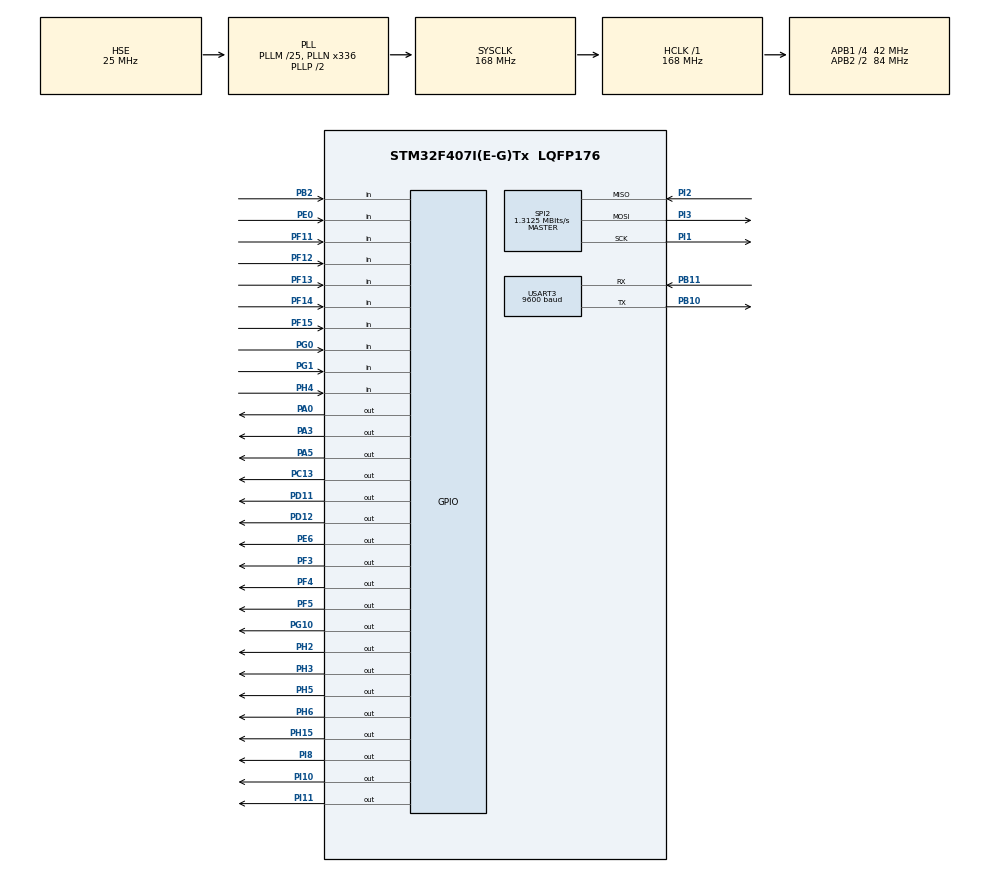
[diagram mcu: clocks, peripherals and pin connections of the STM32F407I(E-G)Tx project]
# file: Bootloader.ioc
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Dma.Request0=USART3_TX
Dma.Request1=USART3_RX
Dma.USART3_RX.1.Direction=DMA_PERIPH_TO_MEMORY
Dma.USART3_RX.1.FIFOMode=DMA_FIFOMODE_DISABLE
Dma.USART3_RX.1.Instance=DMA1_Stream1
Dma.USART3_RX.1.MemDataAlignment=DMA_MDATAALIGN_BYTE
Dma.USART3_RX.1.MemInc=DMA_MINC_ENABLE
Dma.USART3_RX.1.Mode=DMA_NORMAL
Dma.USART3_RX.1.PeriphDataAlignment=DMA_PDATAALIGN_BYTE
Dma.USART3_RX.1.PeriphInc=DMA_PINC_DISABLE
Dma.USART3_RX.1.Priority=DMA_PRIORITY_LOW
Dma.USART3_TX.0.Direction=DMA_MEMORY_TO_PERIPH
Dma.USART3_TX.0.FIFOMode=DMA_FIFOMODE_DISABLE
Dma.USART3_TX.0.Instance=DMA1_Stream3
Dma.USART3_TX.0.MemDataAlignment=DMA_MDATAALIGN_BYTE
Dma.USART3_TX.0.MemInc=DMA_MINC_ENABLE
Dma.USART3_TX.0.Mode=DMA_NORMAL
Dma.USART3_TX.0.PeriphDataAlignment=DMA_PDATAALIGN_BYTE
Dma.USART3_TX.0.PeriphInc=DMA_PINC_DISABLE
Dma.USART3_TX.0.Priority=DMA_PRIORITY_LOW
FREERTOS.INCLUDE_vTaskCleanUpResources=1
FREERTOS.INCLUDE_vTaskDelayUntil=1
FREERTOS.INCLUDE_xQueueGetMutexHolder=1
FREERTOS.INCLUDE_xSemaphoreGetMutexHolder=1
FREERTOS.Tasks01=defaultTask,0,128,StartDefaultTask,Default,NULL,Dynamic,NULL,NULL
FREERTOS.configTIMER_TASK_PRIORITY=5
FREERTOS.configTOTAL_HEAP_SIZE=30000
FREERTOS.configUSE_COUNTING_SEMAPHORES=1
FREERTOS.configUSE_NEWLIB_REENTRANT=1
FREERTOS.configUSE_TIMERS=1
IWDG.Prescaler=IWDG_PRESCALER_32
IWDG.Reload=4000
Mcu.Family=STM32F4
Mcu.Name=STM32F407I(E-G)Tx
Mcu.Package=LQFP176
NVIC.DMA1_Stream1_IRQn=true\:5\:0\:false\:false\:true\:true\:false\:true\:true
NVIC.DMA1_Stream3_IRQn=true\:5\:0\:false\:false\:true\:true\:false\:true\:true
NVIC.PriorityGroup=NVIC_PRIORITYGROUP_4
NVIC.TIM1_UP_TIM10_IRQn=true\:15\:0\:false\:false\:true\:false\:false\:true\:true
NVIC.TimeBase=TIM1_UP_TIM10_IRQn
NVIC.TimeBaseIP=TIM1
NVIC.USART3_IRQn=true\:5\:0\:false\:false\:true\:true\:true\:true\:true
PA0-WKUP.PinState=GPIO_PIN_SET
PA0-WKUP.Signal=GPIO_Output
PA13.Mode=Serial_Wire
PA13.Signal=SYS_JTMS-SWDIO
PA14.Mode=Serial_Wire
PA14.Signal=SYS_JTCK-SWCLK
PA3.Signal=GPIO_Output
PA5.Signal=GPIO_Output
PB10.Mode=Asynchronous
PB10.Signal=USART3_TX
PB11.Mode=Asynchronous
PB11.Signal=USART3_RX
PB2.Signal=GPIO_Input
PB6.Signal=USART1_TX
PB7.Signal=USART1_RX
PC13-ANTI_TAMP.Signal=GPIO_Output
PC14-OSC32_IN.Mode=LSE-External-Oscillator
PC14-OSC32_IN.Signal=RCC_OSC32_IN
PC15-OSC32_OUT.Mode=LSE-External-Oscillator
PC15-OSC32_OUT.Signal=RCC_OSC32_OUT
PD11.GPIO_PuPd=GPIO_PULLDOWN
PD11.Signal=GPIO_Output
PD12.GPIO_PuPd=GPIO_PULLDOWN
PD12.Signal=GPIO_Output
PE0.GPIO_PuPd=GPIO_PULLUP
PE0.Signal=GPIO_Input
PE6.Signal=GPIO_Output
PF11.Signal=GPIO_Input
PF12.Signal=GPIO_Input
PF13.Signal=GPIO_Input
PF14.Signal=GPIO_Input
PF15.Signal=GPIO_Input
PF3.PinState=GPIO_PIN_SET
PF3.Signal=GPIO_Output
PF4.PinState=GPIO_PIN_SET
PF4.Signal=GPIO_Output
PF5.PinState=GPIO_PIN_SET
PF5.Signal=GPIO_Output
PG0.Signal=GPIO_Input
PG1.Signal=GPIO_Input
PG10.GPIO_PuPd=GPIO_PULLDOWN
PG10.Signal=GPIO_Output
PG14.Signal=USART6_TX
PG9.Signal=USART6_RX
PH0-OSC_IN.Mode=HSE-External-Oscillator
PH0-OSC_IN.Signal=RCC_OSC_IN
PH1-OSC_OUT.Mode=HSE-External-Oscillator
PH1-OSC_OUT.Signal=RCC_OSC_OUT
PH15.PinState=GPIO_PIN_SET
PH15.Signal=GPIO_Output
PH2.PinState=GPIO_PIN_SET
PH2.Signal=GPIO_Output
PH3.PinState=GPIO_PIN_SET
PH3.Signal=GPIO_Output
PH4.Signal=GPIO_Input
PH5.Signal=GPIO_Output
PH6.Signal=GPIO_Output
PI1.Mode=Full_Duplex_Master
PI1.Signal=SPI2_SCK
PI10.PinState=GPIO_PIN_SET
PI10.Signal=GPIO_Output
PI11.PinState=GPIO_PIN_SET
PI11.Signal=GPIO_Output
PI2.Mode=Full_Duplex_Master
PI2.Signal=SPI2_MISO
PI3.Mode=Full_Duplex_Master
PI3.Signal=SPI2_MOSI
PI8-\ ANTI\ TAMP2.Signal=GPIO_Output
ProjectManager.HeapSize=0x200
ProjectManager.StackSize=0x400
ProjectManager.TargetToolchain=STM32CubeIDE
RCC.48MHZClocksFreq_Value=84000000
RCC.AHBFreq_Value=168000000
RCC.APB1CLKDivider=RCC_HCLK_DIV4
RCC.APB1Freq_Value=42000000
RCC.APB1TimFreq_Value=84000000
RCC.APB2CLKDivider=RCC_HCLK_DIV2
RCC.APB2Freq_Value=84000000
RCC.APB2TimFreq_Value=168000000
RCC.CortexFreq_Value=168000000
RCC.HCLKFreq_Value=168000000
RCC.HSE_VALUE=25000000
RCC.HSI_VALUE=16000000
RCC.PLLM=25
RCC.PLLN=336
RCC.PLLSourceVirtual=RCC_PLLSOURCE_HSE
RCC.RCC_RTC_Clock_Source=RCC_RTCCLKSOURCE_LSE
RCC.RCC_RTC_Clock_SourceVirtual=RCC_RTCCLKSOURCE_LSE
RCC.SYSCLKFreq_VALUE=168000000
RCC.SYSCLKSource=RCC_SYSCLKSOURCE_PLLCLK
RCC.VCOOutputFreq_Value=336000000
SPI2.BaudRatePrescaler=SPI_BAUDRATEPRESCALER_32
SPI2.CalculateBaudRate=1.3125 MBits/s
SPI2.Direction=SPI_DIRECTION_2LINES
SPI2.Mode=SPI_MODE_MASTER
SPI2.VirtualType=VM_MASTER
USART3.BaudRate=9600
USART3.VirtualMode=VM_ASYNC
VP_FREERTOS_VS_CMSIS_V1.Mode=CMSIS_V1
VP_IWDG_VS_IWDG.Mode=IWDG_Activate
VP_RTC_VS_RTC_Activate.Mode=RTC_Enabled
VP_RTC_VS_RTC_Calendar.Mode=RTC_Calendar
VP_SYS_VS_tim1.Mode=TIM1
board=custom

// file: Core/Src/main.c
/* USER CODE BEGIN Header */
/**
  ******************************************************************************
  * @file           : main.c
  * @brief          : Main program body
  ******************************************************************************
  * @attention
  *
  * Copyright (c) 2023 STMicroelectronics.
  * All rights reserved.
  *
  * This software is licensed under terms that can be found in the LICENSE file
  * in the root directory of this software component.
  * If no LICENSE file comes with this software, it is provided AS-IS.
  *
  ******************************************************************************
  */
/* USER CODE END Header */
#include "main.h"
#include "cmsis_os.h"

/* USER CODE BEGIN Includes */

#include "gpio.h"
#include "m95.h"
#include "fm25v02.h"
#include "modbus.h"

/* USER CODE END Includes */

 IWDG_HandleTypeDef hiwdg;

RTC_HandleTypeDef hrtc;

SPI_HandleTypeDef hspi2;

UART_HandleTypeDef huart3;
DMA_HandleTypeDef hdma_usart3_tx;
DMA_HandleTypeDef hdma_usart3_rx;

osThreadId defaultTaskHandle;
/* USER CODE BEGIN PV */

osMessageQId ModbusQueueHandle;
osTimerId AT_TimerHandle;
osTimerId Ring_Center_TimerHandle;
osMutexId UartMutexHandle;
osSemaphoreId TransmissionStateHandle;

osThreadId M95TaskHandle;
osThreadId ModbusTaskHandle;
osThreadId MainTaskHandle;
osThreadId ModbusPacketTaskHandle;
osThreadId ReadRegistersTaskHandle;

osMutexId Fm25v02MutexHandle;

osSemaphoreId ModbusPacketReceiveHandle;

uint8_t modem_rx_data[256];
char modem_rx_buffer[256];
uint8_t modbus_buffer[20][256];
uint8_t modem_rx_number = 0;
//uint8_t modbus_buffer_number = 0;

volatile uint8_t read_rx_state;

extern bootloader_register_struct bootloader_registers;

typedef void (*pFunction) (void);
pFunction Jump_To_Application;
uint32_t JumpAddress;
uint32_t ApplicationAddress2 = 0x08010000;

uint32_t calculating_firmware_crc;
uint32_t start_address;
uint32_t end_address;
uint32_t firmware_length;
uint16_t firmware_crc;

uint32_t start_default_task_delay = 200;

uint8_t test_data1;

uint8_t temp_id_high;
uint8_t temp_id_low;

uint8_t temp_ip1;
uint8_t temp_ip2;
uint8_t temp_ip3;
uint8_t temp_ip4;

uint8_t temp_port_high;
uint8_t temp_port_low;

extern control_register_struct control_registers;

volatile uint8_t modem_reset_state = 0;

/* USER CODE END PV */

void SystemClock_Config(void);
static void MX_GPIO_Init(void);
static void MX_DMA_Init(void);
static void MX_IWDG_Init(void);
static void MX_SPI2_Init(void);
static void MX_USART3_UART_Init(void);
static void MX_RTC_Init(void);
void StartDefaultTask(void const * argument);

/* USER CODE BEGIN PFP */

void Callback_AT_Timer(void const * argument);
void Callback_Ring_Center_Timer(void const * argument);

void ThreadM95Task(void const * argument);
void ThreadModbusTask(void const * argument);
void ThreadMainTask(void const * argument);
void ThreadModbusPacketTask(void const * argument);
void ThreadReadRegistersTask(void const * argument);

/* USER CODE END PFP */

/* USER CODE BEGIN 0 */

void HAL_UART_TxCpltCallback(UART_HandleTypeDef *huart)
{
	  if (huart->Instance == USART3)
	  {
		  osSemaphoreRelease(TransmissionStateHandle);
	  }
}

void HAL_UART_RxCpltCallback(UART_HandleTypeDef *huart)
{
	  if (huart->Instance == USART3)
	  {
		  modem_rx_buffer[modem_rx_number++] = modem_rx_data[0];
		  osMessagePut(ModbusQueueHandle, (uint32_t)modem_rx_data[0], 2000);
		  HAL_UART_Receive_DMA(&huart3, &modem_rx_data[0], 1);
	  }
}

//void HAL_MspInit(void)
//{

//}

/* USER CODE END 0 */

int main(void)
{
  /* USER CODE BEGIN 1 */

  	uint8_t temp_h;
  	uint8_t temp_l;
  	uint16_t temp_jump_attempt;

  /* USER CODE END 1 */

  /* MCU Configuration--------------------------------------------------------*/

  /* Reset of all peripherals, Initializes the Flash interface and the Systick. */
  HAL_Init();

  /* Configure the system clock */
  SystemClock_Config();

  /* Initialize all configured peripherals */
  MX_GPIO_Init();
  MX_DMA_Init();
  MX_IWDG_Init();
  MX_SPI2_Init();
  MX_USART3_UART_Init();
  MX_RTC_Init();
  /* USER CODE BEGIN 2 */

  BUZ_ON(); // пикаем бузером
  HAL_Delay(50);
  BUZ_OFF();

  LED_VD3_ON();

  if( ((RCC->BDCR)&0x02) != 0 ) // Проверяем, запустился ли часовой кварц, если запустился включаем светодиод
  {
	  //LED_VD4_ON();
  }
  else
  {
	  //LED_VD4_OFF();
  }

	//fm25v02_write(2*START_ADDRESS_FIRMWARE_2_REG, 0x00);
	//fm25v02_write(2*START_ADDRESS_FIRMWARE_2_REG+1, 0x08);
	//bootloader_registers.start_address_firmware_2_reg = 0x0008;

	//fm25v02_write(2*START_ADDRESS_FIRMWARE_3_REG, 0x00);
	//fm25v02_write(2*START_ADDRESS_FIRMWARE_3_REG+1, 0x01);
	//bootloader_registers.start_address_firmware_3_reg = 0x0001;

	//fm25v02_write(2*START_ADDRESS_FIRMWARE_HIGH_REG, 0x00);
	//fm25v02_write(2*START_ADDRESS_FIRMWARE_HIGH_REG+1, 0x00);
	//bootloader_registers.start_address_firmware_high_reg = 0x0000;

	//fm25v02_write(2*START_ADDRESS_FIRMWARE_LOW_REG, 0x00);
	//fm25v02_write(2*START_ADDRESS_FIRMWARE_LOW_REG+1, 0x00);
	//bootloader_registers.start_address_firmware_low_reg = 0x0000;

	//fm25v02_write(2*END_ADDRESS_FIRMWARE_2_REG, 0x00);
	//fm25v02_write(2*END_ADDRESS_FIRMWARE_2_REG+1, 0x08);
	//bootloader_registers.end_address_firmware_2_reg = 0x0008;

	//fm25v02_write(2*END_ADDRESS_FIRMWARE_3_REG, 0x00);
	//fm25v02_write(2*END_ADDRESS_FIRMWARE_3_REG+1, 0x01);
	//bootloader_registers.end_address_firmware_3_reg = 0x0001;

	//fm25v02_write(2*END_ADDRESS_FIRMWARE_HIGH_REG, 0x00);
	//fm25v02_write(2*END_ADDRESS_FIRMWARE_HIGH_REG+1, 0xDD);
	//bootloader_registers.end_address_firmware_high_reg = 0x00DD;

	//fm25v02_write(2*END_ADDRESS_FIRMWARE_LOW_REG, 0x00);
	//fm25v02_write(2*END_ADDRESS_FIRMWARE_LOW_REG+1, 0x33);
	//bootloader_registers.end_address_firmware_low_reg = 0x0033;

	//fm25v02_write(2*CRC_FIRMWARE_HIGH_REG, 0x00);
	//fm25v02_write(2*CRC_FIRMWARE_HIGH_REG+1, 0x07);
	//bootloader_registers.crc_firmware_high_reg = 0x0007;

	//fm25v02_write(2*CRC_FIRMWARE_LOW_REG, 0x00);
	//fm25v02_write(2*CRC_FIRMWARE_LOW_REG+1, 0xB4);
	//bootloader_registers.crc_firmware_low_reg = 0x00B4;

/*
	fm25v02_write(2*IP_1_REG, 0x00);
	fm25v02_write(2*IP_1_REG+1, 0x00);
	fm25v02_write(2*IP_2_REG, 0x00);
	fm25v02_write(2*IP_2_REG+1, 0x00);
	fm25v02_write(2*IP_3_REG, 0x00);
	fm25v02_write(2*IP_3_REG+1, 0x00);
	fm25v02_write(2*IP_4_REG, 0x00);
	fm25v02_write(2*IP_4_REG+1, 0x00);
	fm25v02_write(2*PORT_HIGH_REG, 0x00);
	fm25v02_write(2*PORT_HIGH_REG+1, 0x00);
	fm25v02_write(2*PORT_LOW_REG, 0x00);
	fm25v02_write(2*PORT_LOW_REG+1, 0x00);

	fm25v02_write(2*ID_HIGH_REG, 0x00);
	fm25v02_write(2*ID_HIGH_REG+1, 0x00);

	fm25v02_write(2*ID_LOW_REG, 0x00);
	fm25v02_write(2*ID_LOW_REG+1, 0x00);
*/

	//fm25v02_write(2*WRITE_ARRAY_REG, 0x00); // обнулим регистр записи массива
	//fm25v02_write(2*WRITE_ARRAY_REG+1, 0x00);
	//bootloader_registers.write_array_reg = 0x0000;

	//fm25v02_read(271, &test_data1);

	//fm25v02_write(271, 0x00);

	/*
	fm25v02_read(256, &test_data1); // вычитываем из FRAM памяти регистр старой версии загрузчика

	if( test_data1 !=0 ) // если этот регистр не равен 0, то вычитываем старые параметры ID устройства, IP, номер порта и переписываем их в регистры новой прошивки, затем выставляем значение регистра в 0
	{
		fm25v02_read(4267, &temp_id_high);
		fm25v02_read(4268, &temp_id_low);

		fm25v02_read(4271, &temp_ip1);
		fm25v02_read(4272, &temp_ip2);
		fm25v02_read(4273, &temp_ip3);
		fm25v02_read(4274, &temp_ip4);

		fm25v02_read(4275, &temp_port_high);
		fm25v02_read(4276, &temp_port_low);

		fm25v02_write(2*ID_HIGH_REG, 0);
		fm25v02_write(2*ID_HIGH_REG+1, temp_id_high);
		control_registers.id_high_reg = temp_id_high;

		fm25v02_write(2*ID_LOW_REG, 0);
		fm25v02_write(2*ID_LOW_REG+1, temp_id_low);
		control_registers.id_low_reg = temp_id_low;

		fm25v02_write(2*IP_1_REG, 0);
		fm25v02_write(2*IP_1_REG+1, temp_ip1);
		control_registers.ip1_reg = temp_ip1;

		fm25v02_write(2*IP_2_REG, 0);
		fm25v02_write(2*IP_2_REG+1, temp_ip2);
		control_registers.ip2_reg = temp_ip2;

		fm25v02_write(2*IP_3_REG, 0);
		fm25v02_write(2*IP_3_REG+1, temp_ip3);
		control_registers.ip3_reg = temp_ip3;

		fm25v02_write(2*IP_4_REG, 0);
		fm25v02_write(2*IP_4_REG+1, temp_ip4);
		control_registers.ip4_reg = temp_ip4;

		fm25v02_write(2*PORT_HIGH_REG, 0);
		fm25v02_write(2*PORT_HIGH_REG+1, temp_port_high);
		control_registers.port_high_reg = temp_port_high;

		fm25v02_write(2*PORT_LOW_REG, 0);
		fm25v02_write(2*PORT_LOW_REG+1, temp_port_low);
		control_registers.port_low_reg = temp_port_low;

		fm25v02_write(256, 0); // выставляем значение регистра в 0
	}
	*/

  	read_bootloader_registers_no_rtos(); // читаем ригистры бутлоадера до запуска операционной системы

	start_address = ((((uint32_t)(bootloader_registers.start_address_firmware_high_reg))<<24)&0xFF000000) | ((((uint32_t)(bootloader_registers.start_address_firmware_2_reg))<<16)&0x00FF0000) | ((((uint32_t)(bootloader_registers.start_address_firmware_3_reg))<<8)&0x0000FF00) | (((uint32_t)(bootloader_registers.start_address_firmware_low_reg))&0x000000FF);

	end_address = ((((uint32_t)(bootloader_registers.end_address_firmware_2_reg))<<24)&0xFF000000) | ((((uint32_t)(bootloader_registers.end_address_firmware_3_reg))<<16)&0x00FF0000) | ((((uint32_t)(bootloader_registers.end_address_firmware_high_reg))<<8)&0x0000FF00) | (((uint32_t)(bootloader_registers.end_address_firmware_low_reg))&0x000000FF);

	//end_address = 0x08029EEB;

	firmware_length = end_address - start_address + 1;

	firmware_crc = (((bootloader_registers.crc_firmware_low_reg)<<8)&0xFF00) | ((bootloader_registers.crc_firmware_high_reg)&0x00FF);

	if( (start_address >= 0x08000000) && (start_address <= 0x080FFFFF) && ((start_address + firmware_length) <= 0x080FFFFF) && (firmware_length <= 0xFFFFF) ) // стартовый адресс для расчета контрольной суммы должен входить в диапазон основной памяти контроллера, длина прошивки не должна превышать длину памяти программ контроллера иначе при чтении будет хардфолт
	{
		calculating_firmware_crc = CRC16((unsigned char*)start_address, firmware_length);
	}
	else
	{
		calculating_firmware_crc = 0;
	}

	if( (firmware_crc == calculating_firmware_crc) && (firmware_crc != 0) ) // если рассчетная контрольная сумма прошивки совпадает с указанной и не равна 0
	{

		fm25v02_write(2*FIRMWARE_CORRECTNESS_REG, 0x00); // записываем в регистры и переменную корректность прошивки
		fm25v02_write(2*FIRMWARE_CORRECTNESS_REG+1, 0x01);
		bootloader_registers.firmware_correctness_reg = 0x0001;

	}

	else // если рассчетная контрольная сумма прошивки не совпадает с указанной
	{

		fm25v02_write(2*FIRMWARE_CORRECTNESS_REG, 0x00); // записываем в регистры и переменную ошибку контрольной суммы прошивки
		fm25v02_write(2*FIRMWARE_CORRECTNESS_REG+1, 0x00);
		bootloader_registers.firmware_correctness_reg = 0x0000;

	}

	//----тест, потом удалить
	//fm25v02_write(2*FIRMWARE_CORRECTNESS_REG, 0x00); // записываем в регистры и переменную корректность прошивки
	//fm25v02_write(2*FIRMWARE_CORRECTNESS_REG+1, 0x01);
	//bootloader_registers.firmware_correctness_reg = 0x0001;
	//-----------------------

  	if( bootloader_registers.working_mode_reg == 0 ) // если включен нормальный режим работы
  	{
  		if(bootloader_registers.jump_attempt_reg < bootloader_registers.max_jump_attempt_reg)
  		{
  			if( bootloader_registers.firmware_correctness_reg == 1 ) // если прошивка корректна (контрольная сумма совпадает)
  			{

  				fm25v02_write(2*FIRMWARE_CORRECTNESS_REG, 0x00); // обнуляем корректность прошивки
  				fm25v02_write(2*FIRMWARE_CORRECTNESS_REG+1, 0x00);
  				bootloader_registers.firmware_correctness_reg = 0x0000;

  				fm25v02_write(2*WORKING_MODE_REG, 0x00); // обнуляем корректность прошивки
  				fm25v02_write(2*WORKING_MODE_REG+1, 0x00);
  				bootloader_registers.working_mode_reg = 0x0000;

  				fm25v02_read(271, &test_data1); // обнуляем регистр режима работы с номером 271 в fram памяти, нужно только для старой прошивки

  				HAL_UART_DeInit(&huart3);
  				HAL_SPI_DeInit(&hspi2);
  				HAL_DMA_DeInit(&hdma_usart3_rx);
  				HAL_DMA_DeInit(&hdma_usart3_tx);

  				HAL_RCC_DeInit();

  				HAL_DeInit(); // деинициализируем HAL

  				JumpAddress = *(__IO uint32_t*) (ApplicationAddress2+4); // адрес перехода
  				Jump_To_Application = (pFunction) JumpAddress; // приводим адрес к типу функции
  				__set_MSP (*(__IO uint32_t*) ApplicationAddress2);// устанавливаем указатель стека

  				SCB->VTOR = FLASH_BASE | 0x10000; // смещаем таблицу векторов прерываний

  				Jump_To_Application(); // переход к основной программе

  			}
  			else if( bootloader_registers.firmware_correctness_reg == 0 )
  			{
  				fm25v02_read(2*JUMP_ATTEMPT_REG, &temp_h); // увеличиваем количество попыток перейти в основную программу
  				fm25v02_read(2*JUMP_ATTEMPT_REG+1, &temp_l);
  				temp_jump_attempt = (((uint16_t)temp_h)<<8)|((uint16_t)(temp_l));
  				temp_jump_attempt = temp_jump_attempt + 1;
  				temp_h = (uint8_t)(temp_jump_attempt>>8);
  				temp_l = (uint8_t)(temp_jump_attempt);
  				fm25v02_write(2*JUMP_ATTEMPT_REG, temp_h);
  				fm25v02_write(2*JUMP_ATTEMPT_REG+1, temp_l);

  				HAL_Delay(100);

  				osMutexWait(Fm25v02MutexHandle, osWaitForever); // ждем освобождение мьютекса записи в память
  				NVIC_SystemReset();

  			}
  		}

  		else
  		{
  			start_default_task_delay = 100;
  		}
  	}

  /* USER CODE END 2 */

  /* USER CODE BEGIN RTOS_MUTEX */
  /* add mutexes, ... */

  osMutexDef(UartMutex);
  UartMutexHandle = osMutexCreate(osMutex(UartMutex));

  osMutexDef(Fm25v02Mutex);
  Fm25v02MutexHandle = osMutexCreate(osMutex(Fm25v02Mutex));

  /* USER CODE END RTOS_MUTEX */

  /* USER CODE BEGIN RTOS_SEMAPHORES */
  /* add semaphores, ... */

  osSemaphoreDef(TransmissionState);
  TransmissionStateHandle = osSemaphoreCreate(osSemaphore(TransmissionState), 1);

  osSemaphoreDef(ModbusPacketReceive);
  ModbusPacketReceiveHandle = osSemaphoreCreate(osSemaphore(ModbusPacketReceive), 1);

  /* USER CODE END RTOS_SEMAPHORES */

  /* USER CODE BEGIN RTOS_TIMERS */
  /* start timers, add new ones, ... */

  osTimerDef(AT_Timer, Callback_AT_Timer);
  AT_TimerHandle = osTimerCreate(osTimer(AT_Timer), osTimerOnce, NULL);

  osTimerDef(Ring_Center_Timer, Callback_Ring_Center_Timer);
  Ring_Center_TimerHandle = osTimerCreate(osTimer(Ring_Center_Timer), osTimerOnce, NULL);

  /* USER CODE END RTOS_TIMERS */

  /* USER CODE BEGIN RTOS_QUEUES */
  /* add queues, ... */

  osMessageQDef(ModbusQueue, 256, uint8_t);
  ModbusQueueHandle = osMessageCreate(osMessageQ(ModbusQueue), NULL);

  //osMessageQDef(MeterQueue, 256, uint8_t);
  //MeterQueueHandle = osMessageCreate(osMessageQ(MeterQueue), NULL);

  /* USER CODE END RTOS_QUEUES */

  /* Create the thread(s) */
  /* definition and creation of defaultTask */
  osThreadDef(defaultTask, StartDefaultTask, osPriorityNormal, 0, 128);
  defaultTaskHandle = osThreadCreate(osThread(defaultTask), NULL);

  /* USER CODE BEGIN RTOS_THREADS */
  /* add threads, ... */

  osThreadDef(M95Task, ThreadM95Task, osPriorityNormal, 0, 128);
  M95TaskHandle = osThreadCreate(osThread(M95Task), NULL);

  osThreadDef(ModbusTask, ThreadModbusTask, osPriorityNormal, 0, 128);
  ModbusTaskHandle = osThreadCreate(osThread(ModbusTask), NULL);

  osThreadDef(MainTask, ThreadMainTask, osPriorityNormal, 0, 128);
  MainTaskHandle = osThreadCreate(osThread(MainTask), NULL);

  osThreadDef(ModbusPacketTask, ThreadModbusPacketTask, osPriorityNormal, 0, 128);
  ModbusPacketTaskHandle = osThreadCreate(osThread(ModbusPacketTask), NULL);

  osThreadDef(ReadRegistersTask, ThreadReadRegistersTask, osPriorityNormal, 0, 128);
  ReadRegistersTaskHandle = osThreadCreate(osThread(ReadRegistersTask), NULL);

  /* USER CODE END RTOS_THREADS */

  /* Start scheduler */
  osKernelStart();

  /* We should never get here as control is now taken by the scheduler */
  /* Infinite loop */
  while (1)
  {

  }
}

void SystemClock_Config(void)
{
  RCC_OscInitTypeDef RCC_OscInitStruct = {0};
  RCC_ClkInitTypeDef RCC_ClkInitStruct = {0};

  /** Configure the main internal regulator output voltage
  */
  __HAL_RCC_PWR_CLK_ENABLE();
  __HAL_PWR_VOLTAGESCALING_CONFIG(PWR_REGULATOR_VOLTAGE_SCALE1);

  /** Initializes the RCC Oscillators according to the specified parameters
  * in the RCC_OscInitTypeDef structure.
  */
  RCC_OscInitStruct.OscillatorType = RCC_OSCILLATORTYPE_LSI|RCC_OSCILLATORTYPE_HSE
                              |RCC_OSCILLATORTYPE_LSE;
  RCC_OscInitStruct.HSEState = RCC_HSE_ON;
  RCC_OscInitStruct.LSEState = RCC_LSE_ON;
  RCC_OscInitStruct.LSIState = RCC_LSI_ON;
  RCC_OscInitStruct.PLL.PLLState = RCC_PLL_ON;
  RCC_OscInitStruct.PLL.PLLSource = RCC_PLLSOURCE_HSE;
  RCC_OscInitStruct.PLL.PLLM = 25;
  RCC_OscInitStruct.PLL.PLLN = 336;
  RCC_OscInitStruct.PLL.PLLP = RCC_PLLP_DIV2;
  RCC_OscInitStruct.PLL.PLLQ = 4;
  if (HAL_RCC_OscConfig(&RCC_OscInitStruct) != HAL_OK)
  {
    Error_Handler();
  }

  /** Initializes the CPU, AHB and APB buses clocks
  */
  RCC_ClkInitStruct.ClockType = RCC_CLOCKTYPE_HCLK|RCC_CLOCKTYPE_SYSCLK
                              |RCC_CLOCKTYPE_PCLK1|RCC_CLOCKTYPE_PCLK2;
  RCC_ClkInitStruct.SYSCLKSource = RCC_SYSCLKSOURCE_PLLCLK;
  RCC_ClkInitStruct.AHBCLKDivider = RCC_SYSCLK_DIV1;
  RCC_ClkInitStruct.APB1CLKDivider = RCC_HCLK_DIV4;
  RCC_ClkInitStruct.APB2CLKDivider = RCC_HCLK_DIV2;

  if (HAL_RCC_ClockConfig(&RCC_ClkInitStruct, FLASH_LATENCY_5) != HAL_OK)
  {
    Error_Handler();
  }
}

static void MX_IWDG_Init(void)
{

  hiwdg.Instance = IWDG;
  hiwdg.Init.Prescaler = IWDG_PRESCALER_32;
  hiwdg.Init.Reload = 4000;
  if (HAL_IWDG_Init(&hiwdg) != HAL_OK)
  {
    Error_Handler();
  }

}

static void MX_RTC_Init(void)
{

  RTC_TimeTypeDef sTime = {0};
  RTC_DateTypeDef sDate = {0};

  /** Initialize RTC Only
  */
  hrtc.Instance = RTC;
  hrtc.Init.HourFormat = RTC_HOURFORMAT_24;
  hrtc.Init.AsynchPrediv = 127;
  hrtc.Init.SynchPrediv = 255;
  hrtc.Init.OutPut = RTC_OUTPUT_DISABLE;
  hrtc.Init.OutPutPolarity = RTC_OUTPUT_POLARITY_HIGH;
  hrtc.Init.OutPutType = RTC_OUTPUT_TYPE_OPENDRAIN;
  if (HAL_RTC_Init(&hrtc) != HAL_OK)
  {
    Error_Handler();
  }

  /** Initialize RTC and set the Time and Date
  */
  sTime.Hours = 0x0;
  sTime.Minutes = 0x0;
  sTime.Seconds = 0x0;
  sTime.DayLightSaving = RTC_DAYLIGHTSAVING_NONE;
  sTime.StoreOperation = RTC_STOREOPERATION_RESET;
  //if (HAL_RTC_SetTime(&hrtc, &sTime, RTC_FORMAT_BCD) != HAL_OK)
  //{
    //Error_Handler();
  //}
  sDate.WeekDay = RTC_WEEKDAY_MONDAY;
  sDate.Month = RTC_MONTH_JANUARY;
  sDate.Date = 0x1;
  sDate.Year = 0x0;

  //if (HAL_RTC_SetDate(&hrtc, &sDate, RTC_FORMAT_BCD) != HAL_OK)
  //{
    //Error_Handler();
  //}

}

static void MX_SPI2_Init(void)
{

  /* SPI2 parameter configuration*/
  hspi2.Instance = SPI2;
  hspi2.Init.Mode = SPI_MODE_MASTER;
  hspi2.Init.Direction = SPI_DIRECTION_2LINES;
  hspi2.Init.DataSize = SPI_DATASIZE_8BIT;
  hspi2.Init.CLKPolarity = SPI_POLARITY_LOW;
  hspi2.Init.CLKPhase = SPI_PHASE_1EDGE;
  hspi2.Init.NSS = SPI_NSS_SOFT;
  hspi2.Init.BaudRatePrescaler = SPI_BAUDRATEPRESCALER_32;
  hspi2.Init.FirstBit = SPI_FIRSTBIT_MSB;
  hspi2.Init.TIMode = SPI_TIMODE_DISABLE;
  hspi2.Init.CRCCalculation = SPI_CRCCALCULATION_DISABLE;
  hspi2.Init.CRCPolynomial = 10;
  if (HAL_SPI_Init(&hspi2) != HAL_OK)
  {
    Error_Handler();
  }

}

static void MX_USART3_UART_Init(void)
{

  huart3.Instance = USART3;
  huart3.Init.BaudRate = 9600;
  huart3.Init.WordLength = UART_WORDLENGTH_8B;
  huart3.Init.StopBits = UART_STOPBITS_1;
  huart3.Init.Parity = UART_PARITY_NONE;
  huart3.Init.Mode = UART_MODE_TX_RX;
  huart3.Init.HwFlowCtl = UART_HWCONTROL_NONE;
  huart3.Init.OverSampling = UART_OVERSAMPLING_16;
  if (HAL_UART_Init(&huart3) != HAL_OK)
  {
    Error_Handler();
  }

}

static void MX_DMA_Init(void)
{

  /* DMA controller clock enable */
  __HAL_RCC_DMA1_CLK_ENABLE();

  /* DMA interrupt init */
  /* DMA1_Stream1_IRQn interrupt configuration */
  HAL_NVIC_SetPriority(DMA1_Stream1_IRQn, 5, 0);
  HAL_NVIC_EnableIRQ(DMA1_Stream1_IRQn);
  /* DMA1_Stream3_IRQn interrupt configuration */
  HAL_NVIC_SetPriority(DMA1_Stream3_IRQn, 5, 0);
  HAL_NVIC_EnableIRQ(DMA1_Stream3_IRQn);

}

static void MX_GPIO_Init(void)
{
  GPIO_InitTypeDef GPIO_InitStruct = {0};

  /* GPIO Ports Clock Enable */
  __HAL_RCC_GPIOE_CLK_ENABLE();
  __HAL_RCC_GPIOI_CLK_ENABLE();
  __HAL_RCC_GPIOC_CLK_ENABLE();
  __HAL_RCC_GPIOF_CLK_ENABLE();
  __HAL_RCC_GPIOH_CLK_ENABLE();
  __HAL_RCC_GPIOA_CLK_ENABLE();
  __HAL_RCC_GPIOB_CLK_ENABLE();
  __HAL_RCC_GPIOG_CLK_ENABLE();
  __HAL_RCC_GPIOD_CLK_ENABLE();

  /*Configure GPIO pin Output Level */
  HAL_GPIO_WritePin(GPIOE, GPIO_PIN_6, GPIO_PIN_RESET);

  /*Configure GPIO pin Output Level */
  HAL_GPIO_WritePin(GPIOI, GPIO_PIN_8, GPIO_PIN_RESET);

  /*Configure GPIO pin Output Level */
  HAL_GPIO_WritePin(GPIOC, GPIO_PIN_13, GPIO_PIN_RESET);

  /*Configure GPIO pin Output Level */
  HAL_GPIO_WritePin(GPIOI, GPIO_PIN_10|GPIO_PIN_11, GPIO_PIN_SET);

  /*Configure GPIO pin Output Level */
  HAL_GPIO_WritePin(GPIOF, GPIO_PIN_3|GPIO_PIN_4|GPIO_PIN_5, GPIO_PIN_SET);

  /*Configure GPIO pin Output Level */
  HAL_GPIO_WritePin(GPIOA, GPIO_PIN_0, GPIO_PIN_SET);

  /*Configure GPIO pin Output Level */
  HAL_GPIO_WritePin(GPIOH, GPIO_PIN_2|GPIO_PIN_3|GPIO_PIN_15, GPIO_PIN_SET);

  /*Configure GPIO pin Output Level */
  HAL_GPIO_WritePin(GPIOH, GPIO_PIN_5|GPIO_PIN_6, GPIO_PIN_RESET);

  /*Configure GPIO pin Output Level */
  HAL_GPIO_WritePin(GPIOA, GPIO_PIN_3|GPIO_PIN_5, GPIO_PIN_RESET);

  /*Configure GPIO pin Output Level */
  HAL_GPIO_WritePin(GPIOD, GPIO_PIN_11|GPIO_PIN_12, GPIO_PIN_RESET);

  /*Configure GPIO pin Output Level */
  HAL_GPIO_WritePin(GPIOG, GPIO_PIN_10, GPIO_PIN_RESET);

  /*Configure GPIO pin : PE6 */
  GPIO_InitStruct.Pin = GPIO_PIN_6;
  GPIO_InitStruct.Mode = GPIO_MODE_OUTPUT_PP;
  GPIO_InitStruct.Pull = GPIO_NOPULL;
  GPIO_InitStruct.Speed = GPIO_SPEED_FREQ_LOW;
  HAL_GPIO_Init(GPIOE, &GPIO_InitStruct);

  /*Configure GPIO pins : PI8 PI10 PI11 */
  GPIO_InitStruct.Pin = GPIO_PIN_8|GPIO_PIN_10|GPIO_PIN_11;
  GPIO_InitStruct.Mode = GPIO_MODE_OUTPUT_PP;
  GPIO_InitStruct.Pull = GPIO_NOPULL;
  GPIO_InitStruct.Speed = GPIO_SPEED_FREQ_LOW;
  HAL_GPIO_Init(GPIOI, &GPIO_InitStruct);

  /*Configure GPIO pin : PC13 */
  GPIO_InitStruct.Pin = GPIO_PIN_13;
  GPIO_InitStruct.Mode = GPIO_MODE_OUTPUT_PP;
  GPIO_InitStruct.Pull = GPIO_NOPULL;
  GPIO_InitStruct.Speed = GPIO_SPEED_FREQ_LOW;
  HAL_GPIO_Init(GPIOC, &GPIO_InitStruct);

  /*Configure GPIO pins : PF3 PF4 PF5 */
  GPIO_InitStruct.Pin = GPIO_PIN_3|GPIO_PIN_4|GPIO_PIN_5;
  GPIO_InitStruct.Mode = GPIO_MODE_OUTPUT_PP;
  GPIO_InitStruct.Pull = GPIO_NOPULL;
  GPIO_InitStruct.Speed = GPIO_SPEED_FREQ_LOW;
  HAL_GPIO_Init(GPIOF, &GPIO_InitStruct);

  /*Configure GPIO pins : PA0 PA3 PA5 */
  GPIO_InitStruct.Pin = GPIO_PIN_0|GPIO_PIN_3|GPIO_PIN_5;
  GPIO_InitStruct.Mode = GPIO_MODE_OUTPUT_PP;
  GPIO_InitStruct.Pull = GPIO_NOPULL;
  GPIO_InitStruct.Speed = GPIO_SPEED_FREQ_LOW;
  HAL_GPIO_Init(GPIOA, &GPIO_InitStruct);

  /*Configure GPIO pins : PH2 PH3 PH5 PH6
                           PH15 */
  GPIO_InitStruct.Pin = GPIO_PIN_2|GPIO_PIN_3|GPIO_PIN_5|GPIO_PIN_6
                          |GPIO_PIN_15;
  GPIO_InitStruct.Mode = GPIO_MODE_OUTPUT_PP;
  GPIO_InitStruct.Pull = GPIO_NOPULL;
  GPIO_InitStruct.Speed = GPIO_SPEED_FREQ_LOW;
  HAL_GPIO_Init(GPIOH, &GPIO_InitStruct);

  /*Configure GPIO pin : PH4 */
  GPIO_InitStruct.Pin = GPIO_PIN_4;
  GPIO_InitStruct.Mode = GPIO_MODE_INPUT;
  GPIO_InitStruct.Pull = GPIO_NOPULL;
  HAL_GPIO_Init(GPIOH, &GPIO_InitStruct);

  /*Configure GPIO pin : PB2 */
  GPIO_InitStruct.Pin = GPIO_PIN_2;
  GPIO_InitStruct.Mode = GPIO_MODE_INPUT;
  GPIO_InitStruct.Pull = GPIO_NOPULL;
  HAL_GPIO_Init(GPIOB, &GPIO_InitStruct);

  /*Configure GPIO pins : PF11 PF12 PF13 PF14
                           PF15 */
  GPIO_InitStruct.Pin = GPIO_PIN_11|GPIO_PIN_12|GPIO_PIN_13|GPIO_PIN_14
                          |GPIO_PIN_15;
  GPIO_InitStruct.Mode = GPIO_MODE_INPUT;
  GPIO_InitStruct.Pull = GPIO_NOPULL;
  HAL_GPIO_Init(GPIOF, &GPIO_InitStruct);

  /*Configure GPIO pins : PG0 PG1 */
  GPIO_InitStruct.Pin = GPIO_PIN_0|GPIO_PIN_1;
  GPIO_InitStruct.Mode = GPIO_MODE_INPUT;
  GPIO_InitStruct.Pull = GPIO_NOPULL;
  HAL_GPIO_Init(GPIOG, &GPIO_InitStruct);

  /*Configure GPIO pins : PD11 PD12 */
  GPIO_InitStruct.Pin = GPIO_PIN_11|GPIO_PIN_12;
  GPIO_InitStruct.Mode = GPIO_MODE_OUTPUT_PP;
  GPIO_InitStruct.Pull = GPIO_PULLDOWN;
  GPIO_InitStruct.Speed = GPIO_SPEED_FREQ_LOW;
  HAL_GPIO_Init(GPIOD, &GPIO_InitStruct);

  /*Configure GPIO pins : PG9 PG14 */
  GPIO_InitStruct.Pin = GPIO_PIN_9|GPIO_PIN_14;
  GPIO_InitStruct.Mode = GPIO_MODE_AF_PP;
  GPIO_InitStruct.Pull = GPIO_NOPULL;
  GPIO_InitStruct.Speed = GPIO_SPEED_FREQ_VERY_HIGH;
  GPIO_InitStruct.Alternate = GPIO_AF8_USART6;
  HAL_GPIO_Init(GPIOG, &GPIO_InitStruct);

  /*Configure GPIO pin : PG10 */
  GPIO_InitStruct.Pin = GPIO_PIN_10;
  GPIO_InitStruct.Mode = GPIO_MODE_OUTPUT_PP;
  GPIO_InitStruct.Pull = GPIO_PULLDOWN;
  GPIO_InitStruct.Speed = GPIO_SPEED_FREQ_LOW;
  HAL_GPIO_Init(GPIOG, &GPIO_InitStruct);

  /*Configure GPIO pins : PB6 PB7 */
  GPIO_InitStruct.Pin = GPIO_PIN_6|GPIO_PIN_7;
  GPIO_InitStruct.Mode = GPIO_MODE_AF_PP;
  GPIO_InitStruct.Pull = GPIO_NOPULL;
  GPIO_InitStruct.Speed = GPIO_SPEED_FREQ_VERY_HIGH;
  GPIO_InitStruct.Alternate = GPIO_AF7_USART1;
  HAL_GPIO_Init(GPIOB, &GPIO_InitStruct);

  /*Configure GPIO pin : PE0 */
  GPIO_InitStruct.Pin = GPIO_PIN_0;
  GPIO_InitStruct.Mode = GPIO_MODE_INPUT;
  GPIO_InitStruct.Pull = GPIO_PULLUP;
  HAL_GPIO_Init(GPIOE, &GPIO_InitStruct);

}

/* USER CODE BEGIN 4 */

void Callback_AT_Timer(void const * argument)
{

	read_rx_state = NOT_ACTIVE;

}

void Callback_Ring_Center_Timer(void const * argument)
{
	modem_reset_state = 1;
}

/* USER CODE END 4 */

void StartDefaultTask(void const * argument)
{
  /* USER CODE BEGIN 5 */
  /* Infinite loop */
  for(;;)
  {

	HAL_IWDG_Refresh(&hiwdg);
	LED_VD3_TOGGLE();

    osDelay(start_default_task_delay);
  }
  /* USER CODE END 5 */
}

void HAL_TIM_PeriodElapsedCallback(TIM_HandleTypeDef *htim)
{
  if (htim->Instance == TIM1) {
    HAL_IncTick();
  }
}

void Error_Handler(void)
{
  /* USER CODE BEGIN Error_Handler_Debug */
  /* User can add his own implementation to report the HAL error return state */

	NVIC_SystemReset();

  __disable_irq();
  while (1)
  {
  }
  /* USER CODE END Error_Handler_Debug */
}
